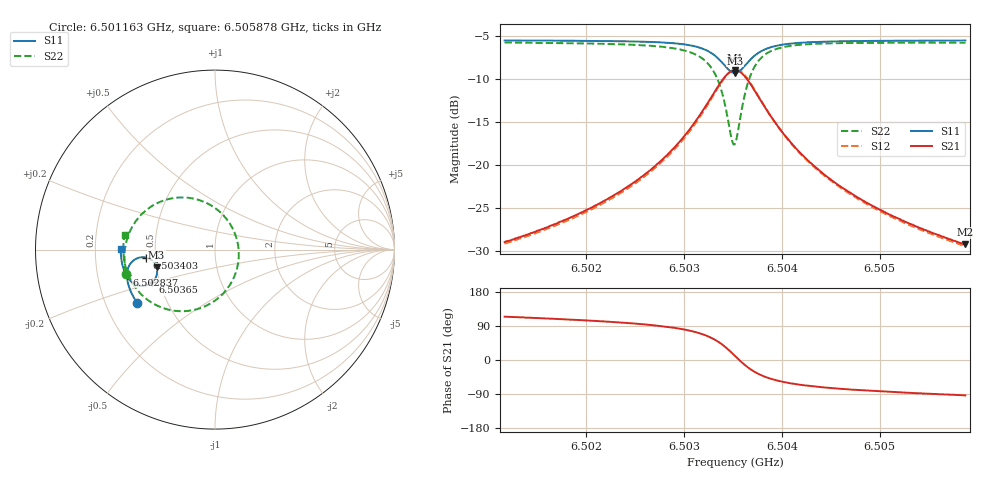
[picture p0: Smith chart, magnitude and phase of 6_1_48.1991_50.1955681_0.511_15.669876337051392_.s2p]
#  HZ  S  RI  R  50.00
! Rohde & Schwarz Vector Network Analyzer
! Rohde-Schwarz,ZNB20-2Port,1311601062101988,3.16
! Created: UTC 3/20/2024, 11:36:14 AM
! freq[Hz]  re:S11  im:S11  re:S21  im:S21  re:S12  im:S12  re:S22  im:S22
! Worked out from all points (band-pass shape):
!   401 points, 6.501163 GHz to 6.505878 GHz, reference 50 ohm
!   highest |S21| = -9.01 dB at 6.50352 GHz (marker M1); lowest = -29.2 dB at 6.505878 GHz (marker M2)
!   |S21| within 3 dB of the highest: 6.503285 GHz to 6.503756 GHz (471.1 kHz wide, 0.00724 % of centre)
!   lowest |S11| = -9.4 dB at 6.50352 GHz (marker M3), VSWR 2.03, Z = 25 - j5.63 ohm
!   |S11| at or under -10 dB: nowhere
!   |S22| runs from -17.6 to -5.8 dB; largest |S21 - S12| = 0.013
!   S11 on the Smith chart (normalised r, x): 6.501163 GHz: 0.34, -0.27; 6.502837 GHz: 0.33, -0.12; 6.503403 GHz: 0.45, -0.05; 6.50365 GHz: 0.46, -0.20; 6.505878 GHz: 0.31, +0.00
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6.501163e9  -0.4361 -0.2949  -0.0147 0.0326  -0.013 0.0326  -0.4951 -0.1332
6.5019528e9  -0.4686 -0.2347  -0.0138 0.0514  -0.0113 0.0508  -0.5044 -0.0455
6.5023889e9  -0.4831 -0.1944  -0.0104 0.0721  -0.00717 0.0708  -0.4988 0.0205
6.5027425e9  -0.4904 -0.153  -0.000256 0.1032  0.00347 0.1007  -0.4762 0.0969
6.5028368e9  -0.4907 -0.1396  0.00568 0.116  0.00947 0.1128  -0.4631 0.1237
6.5030372e9  -0.4848 -0.1048  0.0309 0.1527  0.0344 0.1479  -0.4108 0.1947
6.5031786e9  -0.4684 -0.0743  0.0727 0.1879  0.0754 0.1816  -0.3298 0.2548
6.5033083e9  -0.4305 -0.0472  0.1533 0.2143  0.1539 0.2077  -0.183 0.2906
6.5034026e9  -0.3817 -0.045  0.2487 0.196  0.2488 0.1913  -0.0179 0.2437
6.5034851e9  -0.337 -0.0762  0.3298 0.1175  0.3327 0.1132  0.1115 0.0881
6.5035204e9  -0.3258 -0.0996  0.348 0.0664  0.3519 0.0607  0.1323 -0.00812
6.503544e9  -0.3227 -0.1167  0.3512 0.0301  0.3556 0.0229  0.1292 -0.0747
6.5035794e9  -0.325 -0.142  0.3431 -0.0221  0.347 -0.0317  0.0996 -0.1678
6.5036501e9  -0.3485 -0.1809  0.2935 -0.1015  0.2935 -0.1139  -0.0173 -0.2958
6.5037444e9  -0.3911 -0.2016  0.2114 -0.146  0.2064 -0.1569  -0.1844 -0.3434
6.5038151e9  -0.4183 -0.2016  0.1618 -0.1511  0.1548 -0.1596  -0.2772 -0.3295
6.5038976e9  -0.4421 -0.1943  0.1198 -0.1447  0.1121 -0.1505  -0.3511 -0.2963
6.5040626e9  -0.4722 -0.173  0.0699 -0.1225  0.063 -0.1251  -0.4317 -0.2263
6.5043102e9  -0.4951 -0.1419  0.0358 -0.0946  0.0306 -0.095  -0.4808 -0.146
6.5046874e9  -0.5117 -0.101  0.015 -0.0681  0.0115 -0.0676  -0.5048 -0.065
6.5050999e9  -0.5206 -0.0619  0.00547 -0.0514  0.00299 -0.0507  -0.5107 -0.00316
6.5058779e9  -0.5261 0.00496  -0.00215 -0.0346  -0.00337 -0.0337  -0.5038 0.0829
